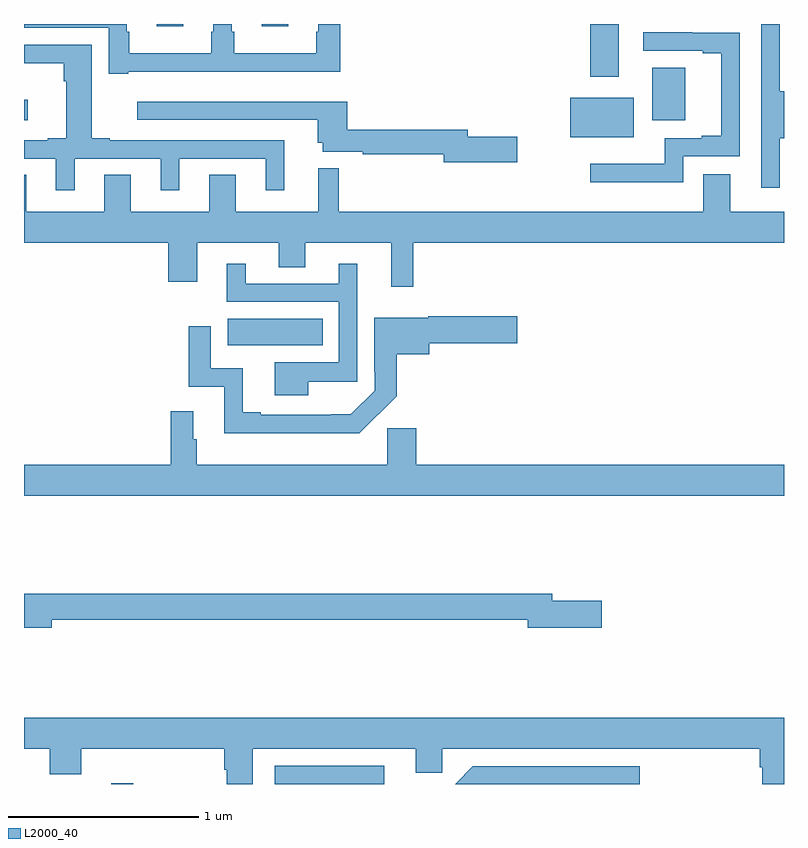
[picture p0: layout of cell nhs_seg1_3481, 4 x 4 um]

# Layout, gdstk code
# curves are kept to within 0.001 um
import gdstk
lib = gdstk.Library(unit=1e-6, precision=1e-09)
def R(c, l, rs):  # rectangles x0, y0, x1, y1
    for r in rs: c.add(gdstk.rectangle(r[:2], r[2:], *l))
def P(c, l, *ps):  # polygons
    for p in ps: c.add(gdstk.Polygon(p, *l))
L2000_40 = (2000, 40)

nhs_seg1_3481 = lib.new_cell('nhs_seg1_3481')
R(nhs_seg1_3481, L2000_40, [(299.46,566.199,299.575,566.203), (300.321,566.199,300.895,566.295), (300.072,568.508,300.572,568.648), (301.874,569.603,302.209,569.812), (299,569.693,299.02,569.8), (302.306,569.693,302.479,569.968), (301.979,569.922,302.131,570.199), (299.699,570.186,299.839,570.199), (300.251,570.186,300.391,570.199)])
P(nhs_seg1_3481, L2000_40, [(299.548,569.948),(300.665,569.948),(300.665,570.199),(300.548,570.199),(300.548,570.158),(300.537,570.158),(300.537,570.046),(300.106,570.046),(300.106,570.158),(300.094,570.158),(300.094,570.199),(299.996,570.199),(299.996,570.158),(299.985,570.158),(299.985,570.046),(299.554,570.046),(299.554,570.158),(299.542,570.158),(299.542,570.199),(299,570.199),(299,570.18),(299.445,570.18),(299.445,569.937),(299.548,569.937)],
  [(302.977,569.597),(303,569.597),(303,569.844),(302.977,569.844),(302.977,570.199),(302.88,570.199),(302.88,569.337),(302.977,569.337)],
  [(302.469,569.502),(302.766,569.502),(302.766,570.153),(302.517,570.153),(302.517,570.156),(302.259,570.156),(302.259,570.057),(302.573,570.057),(302.573,570.045),(302.669,570.045),(302.669,569.611),(302.566,569.611),(302.566,569.598),(302.372,569.598),(302.372,569.464),(301.98,569.464),(301.98,569.366),(302.469,569.366)],
  [(299.266,569.49),(299.72,569.49),(299.72,569.325),(299.818,569.325),(299.818,569.49),(300.272,569.49),(300.272,569.325),(300.371,569.325),(300.371,569.586),(299.452,569.586),(299.452,569.599),(299.356,569.599),(299.356,570.09),(299,570.09),(299,569.993),(299.21,569.993),(299.21,569.897),(299.222,569.897),(299.222,569.599),(299.126,569.599),(299.126,569.586),(299,569.586),(299,569.49),(299.168,569.49),(299.168,569.325),(299.266,569.325)],
  [(301.597,569.606),(301.336,569.606),(301.336,569.642),(300.701,569.642),(300.701,569.791),(299.595,569.791),(299.595,569.694),(300.545,569.694),(300.545,569.574),(300.572,569.574),(300.572,569.526),(300.784,569.526),(300.784,569.514),(301.208,569.514),(301.208,569.471),(301.597,569.471)],
  [(299.563,569.405),(299.423,569.405),(299.423,569.212),(299.011,569.212),(299.011,569.405),(299,569.405),(299,569.048),(299.759,569.048),(299.759,568.842),(299.911,568.842),(299.911,569.048),(300.341,569.048),(300.341,568.918),(300.481,568.918),(300.481,569.048),(300.932,569.048),(300.932,568.815),(301.049,568.815),(301.049,569.048),(303,569.048),(303,569.212),(302.716,569.212),(302.716,569.407),(302.576,569.407),(302.576,569.212),(300.656,569.212),(300.656,569.441),(300.548,569.441),(300.548,569.212),(300.115,569.212),(300.115,569.405),(299.975,569.405),(299.975,569.212),(299.563,569.212)],
  [(300.496,568.316),(300.753,568.316),(300.753,568.936),(300.656,568.936),(300.656,568.833),(300.166,568.833),(300.166,568.936),(300.068,568.936),(300.068,568.737),(300.657,568.737),(300.657,568.42),(300.32,568.42),(300.32,568.244),(300.496,568.244)],
  [(300.962,568.241),(300.962,568.46),(301.132,568.46),(301.132,568.52),(301.597,568.52),(301.597,568.662),(301.128,568.662),(301.128,568.654),(300.843,568.654),(300.843,568.369),(300.846,568.369),(300.846,568.269),(300.721,568.144),(300.247,568.143),(300.247,568.156),(300.151,568.156),(300.151,568.386),(299.982,568.386),(299.982,568.609),(299.866,568.609),(299.866,568.29),(300.053,568.29),(300.053,568.046),(300.565,568.046),(300.565,568.044),(300.764,568.044)],
  [(303,567.88),(301.064,567.88),(301.064,568.071),(300.913,568.071),(300.913,567.88),(299.909,567.88),(299.909,568.013),(299.89,568.013),(299.89,568.162),(299.773,568.162),(299.773,567.88),(299,567.88),(299,567.716),(303,567.716)],
  [(299.146,567.064),(301.652,567.064),(301.652,567.022),(302.041,567.022),(302.041,567.164),(301.78,567.164),(301.78,567.2),(299,567.2),(299,567.022),(299.146,567.022)],
  [(300.205,566.384),(301.061,566.384),(301.061,566.257),(301.2,566.257),(301.2,566.384),(302.873,566.384),(302.873,566.288),(302.885,566.288),(302.885,566.199),(303,566.199),(303,566.548),(299,566.548),(299,566.384),(299.135,566.384),(299.135,566.251),(299.3,566.251),(299.3,566.384),(300.053,566.384),(300.053,566.275),(300.066,566.275),(300.066,566.199),(300.205,566.199)],
  [(302.242,566.292),(301.362,566.292),(301.269,566.199),(302.242,566.199)])

lib.write_gds('nhs_seg1_3481.gds')
